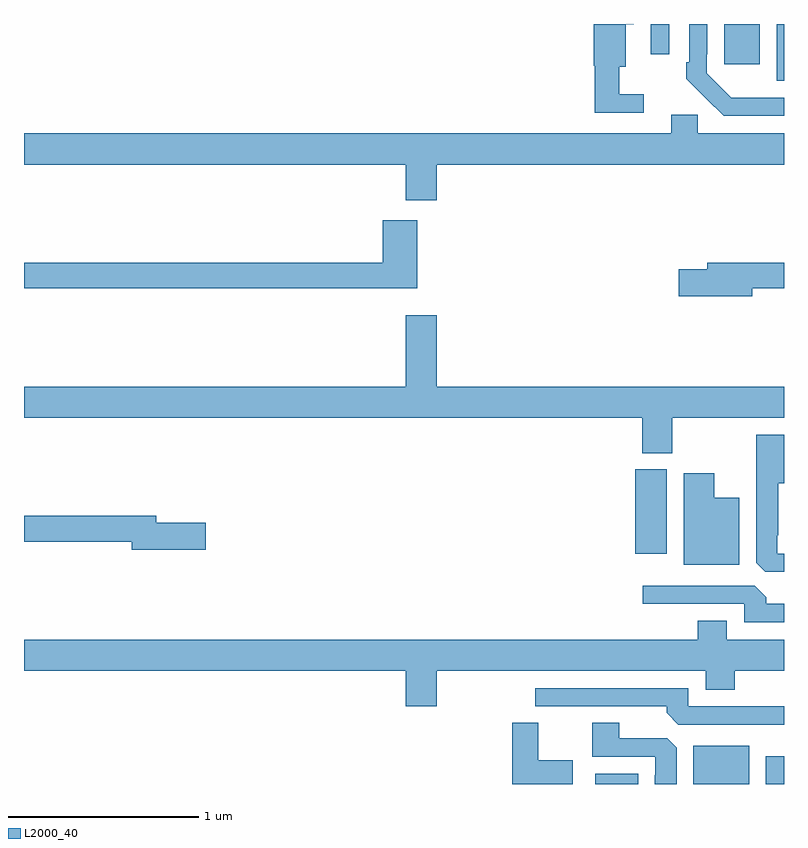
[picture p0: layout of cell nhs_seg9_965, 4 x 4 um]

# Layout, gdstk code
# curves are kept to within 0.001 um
import gdstk
lib = gdstk.Library(unit=1e-6, precision=1e-09)
def R(c, l, rs):  # rectangles x0, y0, x1, y1
    for r in rs: c.add(gdstk.rectangle(r[:2], r[2:], *l))
def P(c, l, *ps):  # polygons
    for p in ps: c.add(gdstk.Polygon(p, *l))
L2000_40 = (2000, 40)

nhs_seg9_965 = lib.new_cell('nhs_seg9_965')
R(nhs_seg9_965, L2000_40, [(166.007,1186.5,166.234,1186.555), (166.523,1186.5,166.816,1186.702), (166.904,1186.5,167,1186.645), (166.217,1187.712,166.384,1188.156), (166.962,1190.202,167,1190.5), (166.685,1190.289,166.873,1190.5), (166.299,1190.34,166.395,1190.5)])
P(nhs_seg9_965, L2000_40, [(167,1190.112),(166.722,1190.113),(166.593,1190.241),(166.593,1190.341),(166.596,1190.341),(166.596,1190.5),(166.5,1190.5),(166.5,1190.299),(166.485,1190.299),(166.485,1190.211),(166.682,1190.016),(167,1190.016)],
  [(166.261,1190.131),(166.132,1190.131),(166.132,1190.276),(166.168,1190.276),(166.168,1190.498),(166.21,1190.498),(166.21,1190.5),(165.998,1190.5),(165.998,1190.28),(166.003,1190.28),(166.003,1190.034),(166.261,1190.034)],
  [(165.172,1189.76),(167,1189.76),(167,1189.924),(166.545,1189.924),(166.545,1190.022),(166.406,1190.022),(166.406,1189.924),(163,1189.924),(163,1189.76),(165.008,1189.76),(165.008,1189.572),(165.172,1189.572)],
  [(165.071,1189.468),(164.888,1189.468),(164.888,1189.244),(163,1189.244),(163,1189.108),(165.071,1189.108)],
  [(166.834,1189.108),(167,1189.108),(167,1189.244),(166.595,1189.244),(166.595,1189.208),(166.446,1189.208),(166.446,1189.066),(166.834,1189.066)],
  [(166.413,1188.428),(167,1188.428),(167,1188.592),(165.172,1188.592),(165.172,1188.967),(165.008,1188.967),(165.008,1188.592),(163,1188.592),(163,1188.428),(166.253,1188.428),(166.253,1188.241),(166.413,1188.241)],
  [(167,1187.712),(166.965,1187.712),(166.965,1187.809),(166.969,1187.809),(166.969,1188.083),(167,1188.083),(167,1188.337),(166.853,1188.337),(166.853,1187.665),(166.902,1187.616),(167,1187.616)],
  [(166.765,1188.007),(166.633,1188.007),(166.633,1188.136),(166.472,1188.136),(166.472,1187.654),(166.765,1187.654)],
  [(163.957,1187.876),(163.696,1187.876),(163.696,1187.912),(163,1187.912),(163,1187.776),(163.568,1187.776),(163.568,1187.734),(163.957,1187.734)],
  [(167,1187.448),(166.907,1187.448),(166.907,1187.482),(166.845,1187.544),(166.257,1187.544),(166.257,1187.448),(166.791,1187.448),(166.791,1187.352),(167,1187.352)],
  [(166.589,1186.997),(166.742,1186.997),(166.742,1187.096),(167,1187.096),(167,1187.26),(166.699,1187.26),(166.699,1187.359),(166.547,1187.359),(166.547,1187.26),(163,1187.26),(163,1187.096),(165.008,1187.096),(165.008,1186.908),(165.172,1186.908),(165.172,1187.096),(166.589,1187.096)],
  [(167,1186.908),(166.497,1186.908),(166.497,1187.004),(165.69,1187.004),(165.69,1186.908),(166.382,1186.908),(166.382,1186.874),(166.443,1186.812),(167,1186.812)],
  [(166.435,1186.691),(166.386,1186.74),(166.132,1186.74),(166.132,1186.823),(165.992,1186.823),(165.992,1186.644),(166.323,1186.644),(166.323,1186.547),(166.319,1186.547),(166.319,1186.5),(166.435,1186.5)],
  [(165.889,1186.624),(165.706,1186.624),(165.706,1186.822),(165.569,1186.822),(165.569,1186.5),(165.889,1186.5)])

lib.write_gds('nhs_seg9_965.gds')
